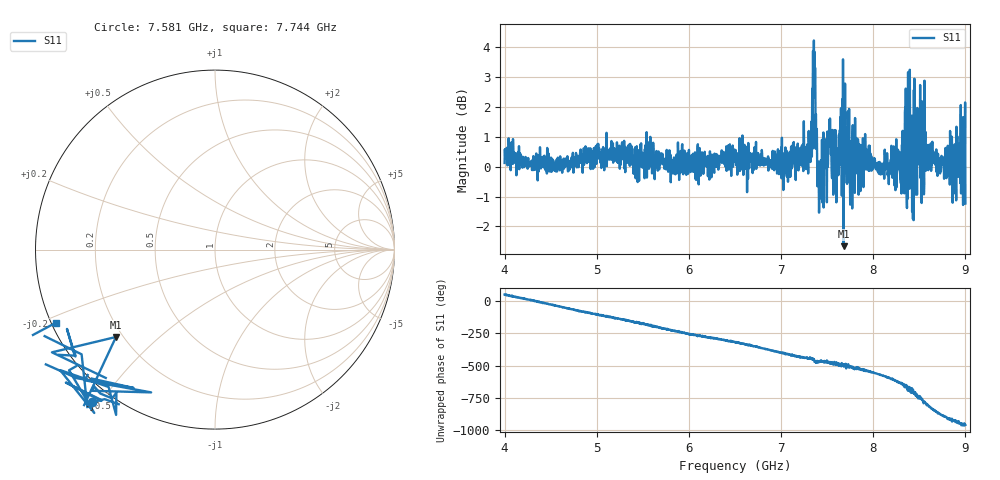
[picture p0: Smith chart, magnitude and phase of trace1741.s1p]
! Created with skrf 1.8.0 (http://scikit-rf.org).
# Hz S RI R 50.0
!freq ReS11 ImS11
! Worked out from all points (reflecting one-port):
!   1601 points, 4 GHz to 9 GHz, reference 50 ohm
!   lowest |S11| = -2.7 dB at 7.678 GHz (marker M1), VSWR 6.57, Z = 8.67 - j18.4 ohm
!   phase of S11 starts at 52 deg and turns -1014 deg over the sweep
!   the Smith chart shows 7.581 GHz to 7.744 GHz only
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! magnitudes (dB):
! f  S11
! 4 GHz  0.1
! 4.625 GHz  -0.2
! 5.25 GHz  -0.1
! 5.875 GHz  0.1
! 6.5 GHz  0.4
! 7.125 GHz  0.5
! 7.294 GHz  -0.2
! 7.347 GHz  3.9
! 7.362 GHz  3.9
! 7.4 GHz  0.0
! 7.416 GHz  -0.8
! 7.525 GHz  1.6
! 7.591 GHz  1.2
! 7.65 GHz  2.0
! 7.678 GHz  -2.7
! 7.75 GHz  -1.3
! 7.769 GHz  -0.1
! 7.828 GHz  0.6
! 8.312 GHz  0.7
! 8.334 GHz  -0.5
! 8.347 GHz  2.0
! 8.375 GHz  0.8
! 8.412 GHz  0.7
! 8.522 GHz  0.9
! 8.597 GHz  -0.1
! 8.875 GHz  0.5
! 8.972 GHz  0.4
! 9 GHz  -1.2
